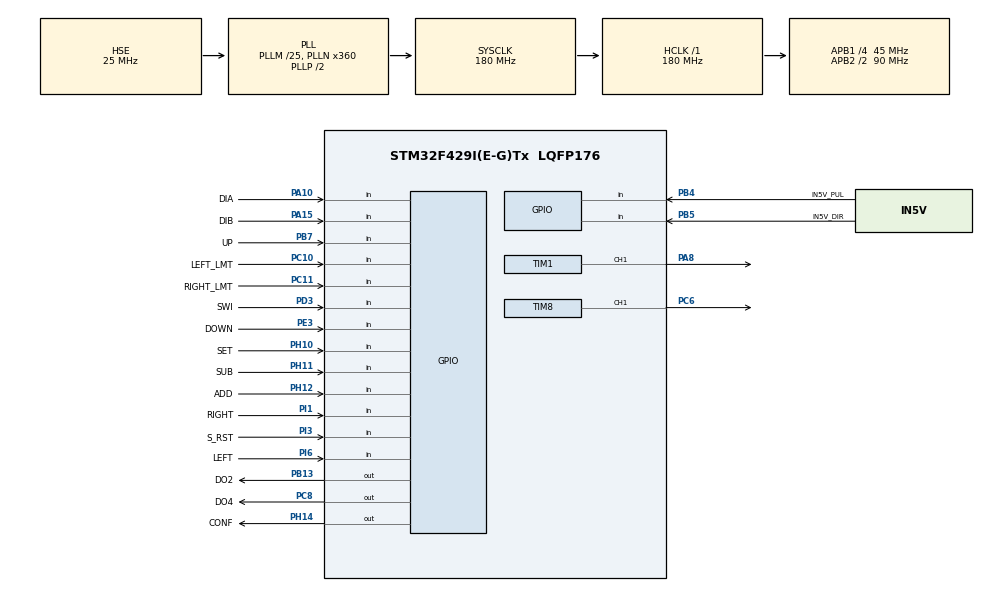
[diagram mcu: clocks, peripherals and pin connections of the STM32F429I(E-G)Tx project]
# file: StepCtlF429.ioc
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Mcu.Family=STM32F4
Mcu.Name=STM32F429I(E-G)Tx
Mcu.Package=LQFP176
NVIC.PriorityGroup=NVIC_PRIORITYGROUP_4
NVIC.TIM6_DAC_IRQn=true\:0\:0\:false\:false\:true\:true\:true\:true
PA10.GPIO_Label=DIA
PA10.Signal=GPIO_Input
PA13.Mode=Serial_Wire
PA13.Signal=SYS_JTMS-SWDIO
PA14.Mode=Serial_Wire
PA14.Signal=SYS_JTCK-SWCLK
PA15.GPIO_Label=DIB
PA15.Signal=GPIO_Input
PA8.Signal=S_TIM1_CH1
PB13.GPIO_Label=DO2
PB13.Signal=GPIO_Output
PB4.GPIO_Label=IN5V_PUL
PB4.Signal=GPIO_Input
PB5.GPIO_Label=IN5V_DIR
PB5.Signal=GPIO_Input
PB7.GPIO_Label=UP
PB7.Signal=GPIO_Input
PC10.GPIO_Label=LEFT_LMT
PC10.Signal=GPIO_Input
PC11.GPIO_Label=RIGHT_LMT
PC11.Signal=GPIO_Input
PC6.Signal=S_TIM8_CH1
PC8.GPIO_Label=DO4
PC8.Signal=GPIO_Output
PD3.GPIO_Label=SWI
PD3.Signal=GPIO_Input
PE3.GPIO_Label=DOWN
PE3.Signal=GPIO_Input
PH0/OSC_IN.Mode=HSE-External-Oscillator
PH0/OSC_IN.Signal=RCC_OSC_IN
PH1/OSC_OUT.Mode=HSE-External-Oscillator
PH1/OSC_OUT.Signal=RCC_OSC_OUT
PH10.GPIO_Label=SET
PH10.Signal=GPIO_Input
PH11.GPIO_Label=SUB
PH11.Signal=GPIO_Input
PH12.GPIO_Label=ADD
PH12.Signal=GPIO_Input
PH14.GPIO_Label=CONF
PH14.Signal=GPIO_Output
PI1.GPIO_Label=RIGHT
PI1.Signal=GPIO_Input
PI3.GPIO_Label=S_RST
PI3.Signal=GPIO_Input
PI6.GPIO_Label=LEFT
PI6.Signal=GPIO_Input
ProjectManager.HeapSize=0x200
ProjectManager.StackSize=0x400
ProjectManager.TargetToolchain=MDK-ARM V5.27
RCC.48MHZClocksFreq_Value=90000000
RCC.AHBFreq_Value=180000000
RCC.APB1CLKDivider=RCC_HCLK_DIV4
RCC.APB1Freq_Value=45000000
RCC.APB1TimFreq_Value=90000000
RCC.APB2CLKDivider=RCC_HCLK_DIV2
RCC.APB2Freq_Value=90000000
RCC.APB2TimFreq_Value=180000000
RCC.CortexFreq_Value=180000000
RCC.HCLKFreq_Value=180000000
RCC.HSE_VALUE=25000000
RCC.HSI_VALUE=16000000
RCC.LSE_VALUE=32768
RCC.PLLM=25
RCC.PLLN=360
RCC.PLLSourceVirtual=RCC_PLLSOURCE_HSE
RCC.SYSCLKFreq_VALUE=180000000
RCC.SYSCLKSource=RCC_SYSCLKSOURCE_PLLCLK
RCC.VCOOutputFreq_Value=360000000
SH.S_TIM1_CH1.0=TIM1_CH1,PWM Generation1 CH1
SH.S_TIM8_CH1.0=TIM8_CH1,PWM Generation1 CH1
TIM1.AutoReloadPreload=TIM_AUTORELOAD_PRELOAD_ENABLE
TIM1.Channel-PWM\ Generation1\ CH1=TIM_CHANNEL_1
TIM1.OC1Preload_PWM=DISABLE
TIM1.Prescaler=180-1
TIM6.Period=2000-1
TIM6.Prescaler=90-1
TIM8.Channel-PWM\ Generation1\ CH1=TIM_CHANNEL_1
TIM8.OC1Preload_PWM=DISABLE
TIM8.Prescaler=180-1
VP_TIM1_VS_ClockSourceINT.Mode=Internal
VP_TIM6_VS_ClockSourceINT.Mode=Enable_Timer
VP_TIM8_VS_ClockSourceINT.Mode=Internal
board=custom

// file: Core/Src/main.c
/* USER CODE BEGIN Header */
/**
  ******************************************************************************
  * @file           : main.c
  * @brief          : Main program body
  ******************************************************************************
  * @attention
  *
  * Copyright (c) 2024 STMicroelectronics.
  * All rights reserved.
  *
  * This software is licensed under terms that can be found in the LICENSE file
  * in the root directory of this software component.
  * If no LICENSE file comes with this software, it is provided AS-IS.
  *
  ******************************************************************************
  */
/* USER CODE END Header */
#include "main.h"
#include "tim.h"
#include "gpio.h"

/* USER CODE BEGIN Includes */
#include <string.h>
#include <stdio.h>
#include "button.h"
#include "oled.h"
#include "gui.h"
#include "control.h"
#include "pwm.h"
#include "pulin_sig.h"
#include "./lcd/bsp_lcd.h"
#include "./touch/bsp_touch_gtxx.h"
/* USER CODE END Includes */

void SystemClock_Config(void);

int main(void)
{

  /* MCU Configuration--------------------------------------------------------*/

  /* Reset of all peripherals, Initializes the Flash interface and the Systick. */
  HAL_Init();

  /* Configure the system clock */
  SystemClock_Config();

  /* Initialize all configured peripherals */
  MX_GPIO_Init();
  MX_TIM1_Init();
  MX_TIM6_Init();
  MX_TIM8_Init();
  /* USER CODE BEGIN 2 */
	guiInit();

	setFreq(&htim1, 1);
	setFreq(&htim8, 1);

	ctlInit();

  // Control loop 2ms
	__HAL_TIM_CLEAR_IT(&htim6, TIM_IT_UPDATE);
	HAL_TIM_Base_Start_IT(&htim6);

	// X and Y axis output
  HAL_TIM_PWM_Start(&htim1, TIM_CHANNEL_1);
	HAL_TIM_PWM_Start(&htim8, TIM_CHANNEL_1);

	// HAL_TIM_IC_Start_IT(&htim3, TIM_CHANNEL_1);

  /* USER CODE END 2 */

  /* Infinite loop */
  /* USER CODE BEGIN WHILE */
  while (1)
  {
		buttonUpdate();
		guiTask();
    /* USER CODE END WHILE */

  }
}

void SystemClock_Config(void)
{
  RCC_OscInitTypeDef RCC_OscInitStruct = {0};
  RCC_ClkInitTypeDef RCC_ClkInitStruct = {0};

  /** Configure the main internal regulator output voltage
  */
  __HAL_RCC_PWR_CLK_ENABLE();
  __HAL_PWR_VOLTAGESCALING_CONFIG(PWR_REGULATOR_VOLTAGE_SCALE1);

  /** Initializes the RCC Oscillators according to the specified parameters
  * in the RCC_OscInitTypeDef structure.
  */
  RCC_OscInitStruct.OscillatorType = RCC_OSCILLATORTYPE_HSE;
  RCC_OscInitStruct.HSEState = RCC_HSE_ON;
  RCC_OscInitStruct.PLL.PLLState = RCC_PLL_ON;
  RCC_OscInitStruct.PLL.PLLSource = RCC_PLLSOURCE_HSE;
  RCC_OscInitStruct.PLL.PLLM = 25;
  RCC_OscInitStruct.PLL.PLLN = 360;
  RCC_OscInitStruct.PLL.PLLP = RCC_PLLP_DIV2;
  RCC_OscInitStruct.PLL.PLLQ = 4;
  if (HAL_RCC_OscConfig(&RCC_OscInitStruct) != HAL_OK)
  {
    Error_Handler();
  }

  /** Activate the Over-Drive mode
  */
  if (HAL_PWREx_EnableOverDrive() != HAL_OK)
  {
    Error_Handler();
  }

  /** Initializes the CPU, AHB and APB buses clocks
  */
  RCC_ClkInitStruct.ClockType = RCC_CLOCKTYPE_HCLK|RCC_CLOCKTYPE_SYSCLK
                              |RCC_CLOCKTYPE_PCLK1|RCC_CLOCKTYPE_PCLK2;
  RCC_ClkInitStruct.SYSCLKSource = RCC_SYSCLKSOURCE_PLLCLK;
  RCC_ClkInitStruct.AHBCLKDivider = RCC_SYSCLK_DIV1;
  RCC_ClkInitStruct.APB1CLKDivider = RCC_HCLK_DIV4;
  RCC_ClkInitStruct.APB2CLKDivider = RCC_HCLK_DIV2;

  if (HAL_RCC_ClockConfig(&RCC_ClkInitStruct, FLASH_LATENCY_5) != HAL_OK)
  {
    Error_Handler();
  }
}

/* USER CODE BEGIN 4 */

void  HAL_TIM_PeriodElapsedCallback(TIM_HandleTypeDef *htim)    //定时器中断回调函数
{
//	if(htim == &htim2)
//	{
//		if (zhenShu == 0)
//		{
//			HAL_TIM_Base_Stop(&htim2);
//			HAL_TIM_PWM_Stop(&htim1, TIM_CHANNEL_1);
//		}
//		else if (zhenShu > 0)
//		{
//			cnt++;
//			if (cnt == zhenShu)
//			{
//				htim2.Instance->ARR = xiaoShu - 1;
//			}
//		}
//		else if (cnt == zhenShu + 1)
//		{
//			HAL_TIM_Base_Stop(&htim2);
//			HAL_TIM_PWM_Stop(&htim1, TIM_CHANNEL_1);
//		}
//	}

//	if (htim == &htim5)
//	{
//			HAL_TIM_Base_Stop(&htim2);
//			HAL_TIM_PWM_Stop(&htim1, TIM_CHANNEL_1);
//	}

	if (htim == &htim6)
	{
		ctlFixedUpd();
	}
}

/**
  * @brief  Conversion complete callback in non blocking mode
  * @param  htim: TIM handle
  * @retval None
  */
//void HAL_TIM_IC_CaptureCallback(TIM_HandleTypeDef *htim)
//{
//  if (htim->Channel == HAL_TIM_ACTIVE_CHANNEL_1)
//  {
//		// freqCalcHandler();
//  }
//}

//void HAL_TIM_IC_CaptureCallback(TIM_HandleTypeDef *htim)
//{
//	if (htim == &htim3)
//	{
//		switch (capState)
//		{
//			case 0:  // 未捕获
//				capState = 1;
//			case 1:  // 捕获到下降沿
//				capState = 2;
//			  if (!yAxisStarted && yAxisStoped)
//				{
//			    yAxisStartFlg = 1;
//					yAxisStarted = 1;
//					yAxisDcced = 0;
//					yAxisStoped = 0;
//				}
//				__HAL_TIM_DISABLE(&htim3);
//				__HAL_TIM_SET_COUNTER(&htim3, 0);
//			  TIM_RESET_CAPTUREPOLARITY(&htim3, TIM_CHANNEL_1);
//				TIM_SET_CAPTUREPOLARITY(&htim3, TIM_CHANNEL_1, TIM_ICPOLARITY_RISING);
//			  __HAL_TIM_ENABLE(&htim3);
//				break;
//			case 2:  // 捕获到上升沿
//				capState = 0;
//				capVal = HAL_TIM_ReadCapturedValue(&htim3, TIM_CHANNEL_1);
//			  if (capVal < minCapVal)
//				{
//					minCapVal = capVal;
//					stopJudgeCnt = 0;
//				}
//				else if (capVal > minCapVal + 10)  // TODO
//				{
//					dccJudgeCnt++;
//					if (dccJudgeCnt >= 10)
//					{
//						if (!yAxisDcced)
//						{
//							yAxisDccFlg = 1;
//							yAxisDcced = 1;
//						}
//					  dccJudgeCnt = 0;
//					}
//				}
//
//				if (capVal > 60000)
//				{
//					stopJudgeCnt++;
//					if (stopJudgeCnt >= 10)
//					{
//						stopJudgeCnt = 0;
//						if (!yAxisStoped)
//						{
//							yAxisStopFlg = 1;
//						  yAxisStoped = 1;
//							yAxisStarted = 0;
//						}
//
//					}
//				}
//
//				TIM_RESET_CAPTUREPOLARITY(&htim3, TIM_CHANNEL_1);
//			  TIM_SET_CAPTUREPOLARITY(&htim3, TIM_CHANNEL_1, TIM_ICPOLARITY_FALLING);
//			break;
//			default:
//				break;
//		}
//	}
//}

/* USER CODE END 4 */

void Error_Handler(void)
{
  __disable_irq();
  while (1)
  {
  }
}
